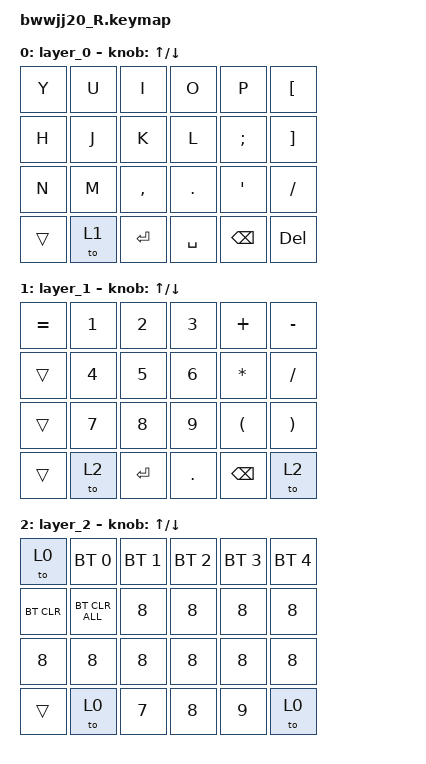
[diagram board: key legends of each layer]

#include <behaviors.dtsi>
#include <dt-bindings/zmk/bt.h>
#include <dt-bindings/zmk/keys.h>
#include <dt-bindings/zmk/pointing.h>

/ {
    behaviors {
        // R编码器的行为
        rot_kp_2: sensor_rotate_kp_2 {
            compatible = "zmk,behavior-sensor-rotate-var";
            #sensor-binding-cells = <2>;
            bindings = <&kp>, <&kp>;
        };
    };

    keymap {
        compatible = "zmk,keymap";

        layer_0 {
            bindings = <
                    &kp Y   &kp U      &kp I      &kp O      &kp P     &kp LBKT
                    &kp H   &kp J      &kp K      &kp L      &kp SEMI  &kp RBKT
                    &kp N   &kp M      &kp COMMA  &kp DOT    &kp APOS  &kp FSLH
                    &trans  &to 1      &kp ENTER  &kp SPACE  &kp BKSP  &kp DEL
            >;

            sensor-bindings = <&rot_kp_2 UP DOWN>;
        };

        layer_1 {
            bindings = <
                    &kp EQUAL  &kp N1  &kp N2     &kp N3   &kp PLUS              &kp MINUS
                    &trans     &kp N4  &kp N5     &kp N6   &kp ASTERISK          &kp FSLH
                    &trans     &kp N7  &kp N8     &kp N9   &kp LEFT_PARENTHESIS  &kp RIGHT_PARENTHESIS
                    &trans     &to 2   &kp ENTER  &kp DOT  &kp BSPC              &to 2
            >;
            sensor-bindings = <&rot_kp_2 UP DOWN>;
        };

        layer_2 {
            bindings = <
                    &to 0           &bt BT_SEL 0      &bt BT_SEL 1  &bt BT_SEL 2  &bt BT_SEL 3  &bt BT_SEL 4  
                    &bt BT_CLR      &bt BT_CLR_ALL    &kp N8        &kp N8        &kp N8        &kp N8
                    &kp N8          &kp N8            &kp N8        &kp N8        &kp N8        &kp N8
                    &trans          &to 0             &kp N7        &kp N8        &kp N9        &to 0
            >;

            sensor-bindings = <&rot_kp_2 UP DOWN>;
        };
    };
};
